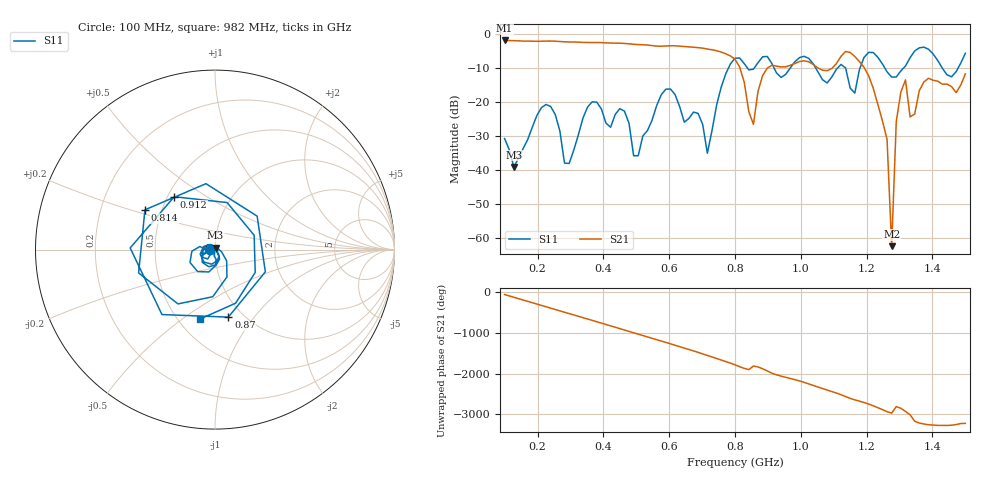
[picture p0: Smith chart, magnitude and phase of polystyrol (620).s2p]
! NanoVNA-App
! Date: 2025-09-25 15:34:42
! Start: 100MHz Stop: 1,5GHz Points: 101
! S-Parameter data: F S11 S21 S12 S22
# Hz S RI R 50
!  Frequency  S11_Real  S11_Imag  S21_Real  S21_Imag  S12_Real  S12_Imag  S22_Real  S22_Imag
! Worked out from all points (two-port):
!   101 points, 100 MHz to 1.5 GHz, reference 50 ohm
!   highest |S21| = -1.80 dB at 100 MHz (marker M1); lowest = -62.4 dB at 1.276 GHz (marker M2)
!   |S21| within 3 dB of the highest: start of sweep to 743.2 MHz
!   lowest |S11| = -39.1 dB at 128 MHz (marker M3), VSWR 1.02, Z = 50.3 + j1.06 ohm
!   |S11| at or under -10 dB: start of sweep to 779.8 MHz; 1.046 GHz to 1.111 GHz (65.26 MHz wide, 6.05 % of centre); 1.256 GHz to 1.311 GHz (55.67 MHz wide, 4.34 % of centre) (the widest 3 of 7)
!   S12 and S22 are empty: the file has one direction only
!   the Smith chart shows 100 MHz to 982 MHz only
!   S11 on the Smith chart (normalised r, x): 100 MHz: 0.94, -0.01; 814 MHz: 0.40, +0.22; 870 MHz: 0.85, -0.75; 912 MHz: 0.54, +0.37; 982 MHz: 0.64, -0.58
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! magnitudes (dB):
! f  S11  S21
! 100 MHz  -30.7  -1.8
! 128 MHz  -39.1  -1.9
! 212 MHz  -21.6  -2.0
! 282 MHz  -37.9  -2.2
! 338 MHz  -24.7  -2.4
! 506 MHz  -35.7  -3.0
! 576 MHz  -17.8  -3.5
! 716 MHz  -35.0  -4.3
! 800 MHz  -7.0  -7.4
! 814 MHz  -7.0  -9.6
! 856 MHz  -10.3  -26.5
! 870 MHz  -8.3  -16.7
! 912 MHz  -8.6  -9.1
! 982 MHz  -8.0  -8.6
! 1.038 GHz  -8.7  -8.9
! 1.164 GHz  -17.3  -6.5
! 1.206 GHz  -5.3  -12.2
! 1.262 GHz  -11.0  -31.0
! 1.276 GHz  -12.6  -62.4
! 1.29 GHz  -12.6  -25.7
! 1.318 GHz  -9.3  -13.4
! 1.5 GHz  -5.6  -11.6
